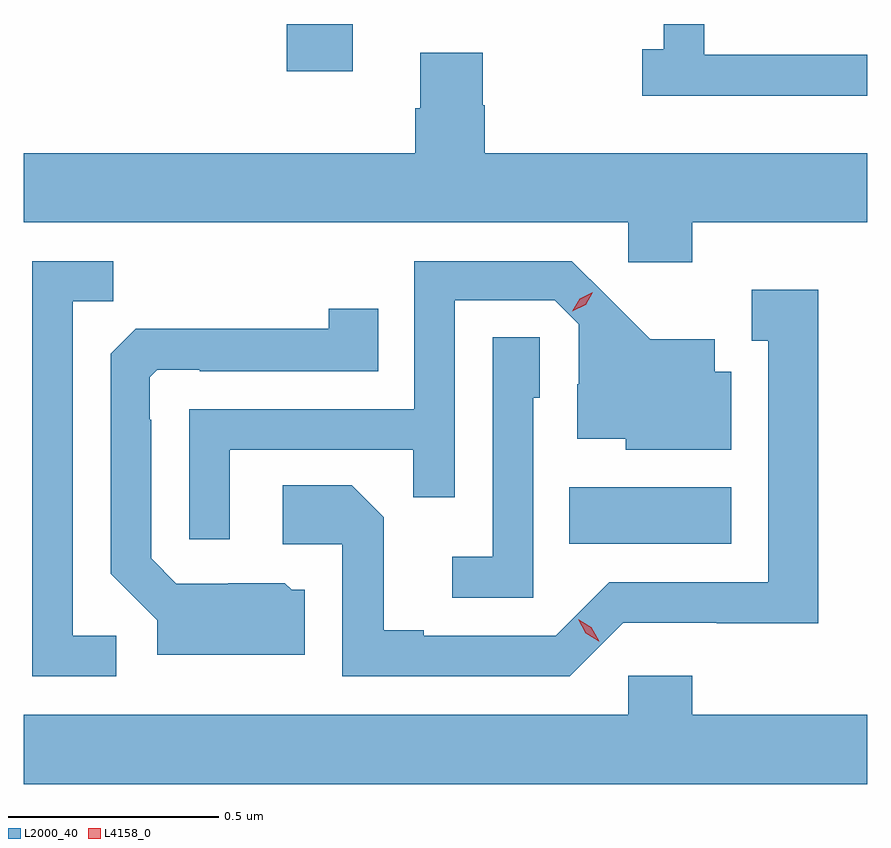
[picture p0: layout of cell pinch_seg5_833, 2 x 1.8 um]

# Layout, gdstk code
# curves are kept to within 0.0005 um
import gdstk
lib = gdstk.Library(unit=1e-6, precision=1e-09)
def R(c, l, rs):  # rectangles x0, y0, x1, y1
    for r in rs: c.add(gdstk.rectangle(r[:2], r[2:], *l))
def P(c, l, *ps):  # polygons
    for p in ps: c.add(gdstk.Polygon(p, *l))
L2000_40 = (2000, 40)
L4158_0 = (4158, 0)

pinch_seg5_833 = lib.new_cell('pinch_seg5_833')
R(pinch_seg5_833, L2000_40, [(779.17,891.962,779.554,892.096), (778.501,893.082,778.657,893.194)])
P(pinch_seg5_833, L2000_40, [(779.877,893.121),(779.491,893.121),(779.491,893.194),(779.394,893.194),(779.394,893.134),(779.343,893.134),(779.343,893.024),(779.877,893.024)],
  [(779.462,892.724),(779.877,892.724),(779.877,892.888),(778.97,892.888),(778.97,893.001),(778.965,893.001),(778.965,893.126),(778.817,893.126),(778.817,892.994),(778.805,892.994),(778.805,892.888),(777.877,892.888),(777.877,892.724),(779.31,892.724),(779.31,892.629),(779.462,892.629)],
  [(778.096,891.744),(777.993,891.744),(777.993,892.537),(778.089,892.537),(778.089,892.632),(777.897,892.632),(777.897,891.648),(778.096,891.648)],
  [(778.365,892.185),(778.801,892.185),(778.801,892.072),(778.899,892.072),(778.899,892.539),(779.136,892.539),(779.193,892.482),(779.193,892.34),(779.189,892.34),(779.189,892.211),(779.304,892.211),(779.304,892.184),(779.554,892.184),(779.554,892.369),(779.515,892.369),(779.515,892.447),(779.363,892.447),(779.176,892.632),(778.803,892.632),(778.803,892.281),(778.269,892.281),(778.269,891.972),(778.365,891.972)],
  [(779.298,891.774),(779.52,891.774),(779.52,891.773),(779.761,891.773),(779.761,892.564),(779.603,892.564),(779.603,892.443),(779.642,892.443),(779.642,891.87),(779.265,891.87),(779.139,891.744),(778.825,891.744),(778.825,891.757),(778.731,891.757),(778.731,892.024),(778.655,892.1),(778.491,892.1),(778.491,891.96),(778.632,891.96),(778.632,891.648),(779.172,891.648)],
  [(778.543,891.852),(778.512,891.852),(778.496,891.868),(778.362,891.868),(778.362,891.867),(778.239,891.867),(778.179,891.927),(778.179,892.256),(778.176,892.256),(778.176,892.356),(778.194,892.374),(778.294,892.374),(778.294,892.371),(778.718,892.371),(778.718,892.519),(778.6,892.519),(778.6,892.472),(778.243,892.472),(778.243,892.471),(778.142,892.471),(778.083,892.412),(778.083,891.89),(778.193,891.78),(778.193,891.698),(778.543,891.698)],
  [(779.085,892.308),(779.1,892.308),(779.1,892.451),(778.989,892.451),(778.989,891.931),(778.893,891.931),(778.893,891.834),(779.085,891.834)],
  [(779.877,891.556),(779.462,891.556),(779.462,891.649),(779.31,891.649),(779.31,891.556),(777.877,891.556),(777.877,891.392),(779.877,891.392)])
P(pinch_seg5_833, L4158_0, [(779.178,892.513),(779.178,892.513),(779.195,892.543),(779.226,892.558),(779.226,892.558),(779.226,892.558),(779.209,892.528),(779.178,892.513)],
  [(779.24,891.731),(779.209,891.75),(779.192,891.783),(779.192,891.783),(779.192,891.783),(779.223,891.764),(779.241,891.731),(779.241,891.731)])

lib.write_gds('pinch_seg5_833.gds')
